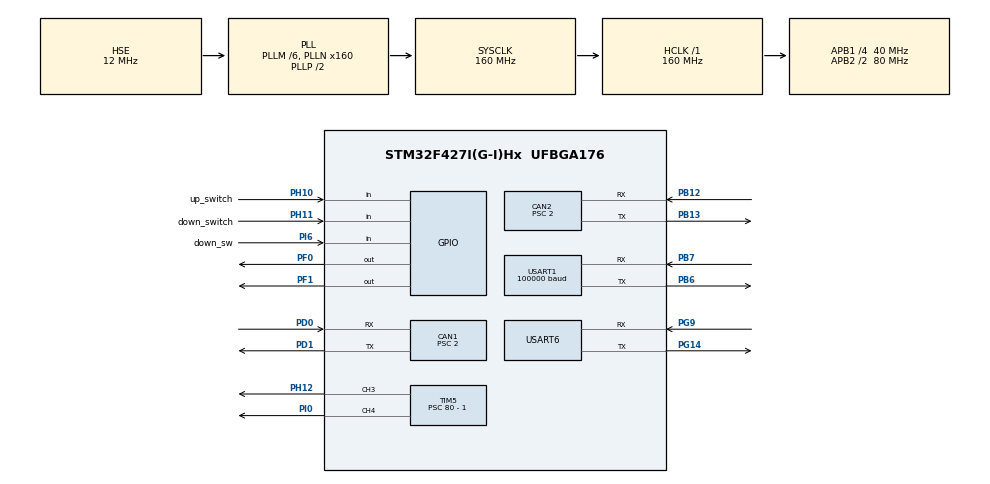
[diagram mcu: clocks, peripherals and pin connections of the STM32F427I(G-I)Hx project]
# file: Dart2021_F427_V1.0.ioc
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CAN1.BS1=CAN_BS1_13TQ
CAN1.BS2=CAN_BS2_6TQ
CAN1.CalculateBaudRate=1000000
CAN1.CalculateTimeBit=1000.00
CAN1.CalculateTimeQuantum=50.0
CAN1.Prescaler=2
CAN1.SJW=CAN_SJW_4TQ
CAN2.BS1=CAN_BS1_13TQ
CAN2.BS2=CAN_BS2_6TQ
CAN2.CalculateBaudRate=1000000
CAN2.CalculateTimeBit=1000.00
CAN2.CalculateTimeQuantum=50.0
CAN2.Prescaler=2
CAN2.SJW=CAN_SJW_4TQ
Dma.Request0=USART1_RX
Dma.Request1=USART6_RX
Dma.Request2=USART6_TX
Dma.USART1_RX.0.Direction=DMA_PERIPH_TO_MEMORY
Dma.USART1_RX.0.FIFOMode=DMA_FIFOMODE_DISABLE
Dma.USART1_RX.0.Instance=DMA2_Stream2
Dma.USART1_RX.0.MemDataAlignment=DMA_MDATAALIGN_BYTE
Dma.USART1_RX.0.MemInc=DMA_MINC_ENABLE
Dma.USART1_RX.0.Mode=DMA_NORMAL
Dma.USART1_RX.0.PeriphDataAlignment=DMA_PDATAALIGN_BYTE
Dma.USART1_RX.0.PeriphInc=DMA_PINC_DISABLE
Dma.USART1_RX.0.Priority=DMA_PRIORITY_LOW
Dma.USART6_RX.1.Direction=DMA_PERIPH_TO_MEMORY
Dma.USART6_RX.1.FIFOMode=DMA_FIFOMODE_DISABLE
Dma.USART6_RX.1.Instance=DMA2_Stream1
Dma.USART6_RX.1.MemDataAlignment=DMA_MDATAALIGN_BYTE
Dma.USART6_RX.1.MemInc=DMA_MINC_ENABLE
Dma.USART6_RX.1.Mode=DMA_NORMAL
Dma.USART6_RX.1.PeriphDataAlignment=DMA_PDATAALIGN_BYTE
Dma.USART6_RX.1.PeriphInc=DMA_PINC_DISABLE
Dma.USART6_RX.1.Priority=DMA_PRIORITY_HIGH
Dma.USART6_TX.2.Direction=DMA_MEMORY_TO_PERIPH
Dma.USART6_TX.2.FIFOMode=DMA_FIFOMODE_DISABLE
Dma.USART6_TX.2.Instance=DMA2_Stream6
Dma.USART6_TX.2.MemDataAlignment=DMA_MDATAALIGN_BYTE
Dma.USART6_TX.2.MemInc=DMA_MINC_ENABLE
Dma.USART6_TX.2.Mode=DMA_NORMAL
Dma.USART6_TX.2.PeriphDataAlignment=DMA_PDATAALIGN_BYTE
Dma.USART6_TX.2.PeriphInc=DMA_PINC_DISABLE
Dma.USART6_TX.2.Priority=DMA_PRIORITY_HIGH
FREERTOS.Tasks01=ShootTask,24,128,StartShootTask,Default,NULL,Dynamic,NULL,NULL;PositionTask,24,128,StartPositionTask,Default,NULL,Dynamic,NULL,NULL;UserCmdTask,24,128,StartUserCmdTask,Default,NULL,Dynamic,NULL,NULL;RefereeTask,24,128,StartRefereeTask,Default,NULL,Dynamic,NULL,NULL
FREERTOS.Timers01=Supervise_Timer,SuperviseTimer,osTimerPeriodic,Default,NULL,Dynamic,NULL
Mcu.Family=STM32F4
Mcu.Name=STM32F427I(G-I)Hx
Mcu.Package=UFBGA176
NVIC.CAN1_RX0_IRQn=true\:5\:0\:false\:false\:true\:true\:true\:true
NVIC.CAN2_RX0_IRQn=true\:5\:0\:false\:false\:true\:true\:true\:true
NVIC.DMA2_Stream1_IRQn=true\:5\:0\:false\:false\:true\:true\:false\:true
NVIC.DMA2_Stream2_IRQn=true\:5\:0\:false\:false\:true\:true\:false\:true
NVIC.DMA2_Stream6_IRQn=true\:5\:0\:false\:false\:true\:true\:false\:true
NVIC.PriorityGroup=NVIC_PRIORITYGROUP_4
NVIC.TIM8_TRG_COM_TIM14_IRQn=true\:0\:0\:false\:false\:true\:false\:false\:true
NVIC.TimeBase=TIM8_TRG_COM_TIM14_IRQn
NVIC.TimeBaseIP=TIM14
NVIC.USART1_IRQn=true\:5\:0\:false\:false\:true\:true\:true\:true
NVIC.USART6_IRQn=true\:5\:0\:false\:false\:true\:true\:true\:true
PA13.Mode=Serial_Wire
PA13.Signal=SYS_JTMS-SWDIO
PA14.Mode=Serial_Wire
PA14.Signal=SYS_JTCK-SWCLK
PB12.Mode=CAN_Activate
PB12.Signal=CAN2_RX
PB13.Mode=CAN_Activate
PB13.Signal=CAN2_TX
PB6.Mode=Asynchronous
PB6.Signal=USART1_TX
PB7.Mode=Asynchronous
PB7.Signal=USART1_RX
PD0.Mode=CAN_Activate
PD0.Signal=CAN1_RX
PD1.Mode=CAN_Activate
PD1.Signal=CAN1_TX
PF0.GPIO_Speed=GPIO_SPEED_FREQ_HIGH
PF0.Signal=GPIO_Output
PF1.GPIO_Speed=GPIO_SPEED_FREQ_HIGH
PF1.Signal=GPIO_Output
PG14.Mode=Asynchronous
PG14.Signal=USART6_TX
PG9.Mode=Asynchronous
PG9.Signal=USART6_RX
PH0/OSC_IN.Mode=HSE-External-Oscillator
PH0/OSC_IN.Signal=RCC_OSC_IN
PH1/OSC_OUT.Mode=HSE-External-Oscillator
PH1/OSC_OUT.Signal=RCC_OSC_OUT
PH10.GPIO_Label=up_switch
PH10.GPIO_PuPd=GPIO_PULLDOWN
PH10.Signal=GPIO_Input
PH11.GPIO_Label=down_switch
PH11.GPIO_PuPd=GPIO_PULLDOWN
PH11.Signal=GPIO_Input
PH12.Signal=S_TIM5_CH3
PI0.Signal=S_TIM5_CH4
PI6.GPIO_Label=down_sw
PI6.GPIO_PuPd=GPIO_PULLDOWN
PI6.Signal=GPIO_Input
ProjectManager.HeapSize=0x200
ProjectManager.StackSize=0x400
ProjectManager.TargetToolchain=MDK-ARM V5.27
RCC.48MHZClocksFreq_Value=80000000
RCC.AHBFreq_Value=160000000
RCC.APB1CLKDivider=RCC_HCLK_DIV4
RCC.APB1Freq_Value=40000000
RCC.APB1TimFreq_Value=80000000
RCC.APB2CLKDivider=RCC_HCLK_DIV2
RCC.APB2Freq_Value=80000000
RCC.APB2TimFreq_Value=160000000
RCC.CortexFreq_Value=160000000
RCC.HCLKFreq_Value=160000000
RCC.HSE_VALUE=12000000
RCC.HSI_VALUE=16000000
RCC.LSE_VALUE=32768
RCC.PLLM=6
RCC.PLLN=160
RCC.PLLSourceVirtual=RCC_PLLSOURCE_HSE
RCC.SYSCLKFreq_VALUE=160000000
RCC.SYSCLKSource=RCC_SYSCLKSOURCE_PLLCLK
RCC.VCOOutputFreq_Value=320000000
SH.S_TIM5_CH3.0=TIM5_CH3,PWM Generation3 CH3
SH.S_TIM5_CH4.0=TIM5_CH4,PWM Generation4 CH4
TIM5.Channel-PWM\ Generation3\ CH3=TIM_CHANNEL_3
TIM5.Channel-PWM\ Generation4\ CH4=TIM_CHANNEL_4
TIM5.Period=20000-1
TIM5.Prescaler=80 - 1
TIM5.Pulse-PWM\ Generation4\ CH4=500
USART1.BaudRate=100000
USART1.Mode=MODE_RX
USART1.Parity=PARITY_EVEN
USART1.StopBits=STOPBITS_2
USART1.VirtualMode=VM_ASYNC
USART1.WordLength=WORDLENGTH_9B
USART6.VirtualMode=VM_ASYNC
VP_FREERTOS_VS_CMSIS_V2.Mode=CMSIS_V2
VP_SYS_VS_tim14.Mode=TIM14
VP_TIM5_VS_ClockSourceINT.Mode=Internal
board=custom

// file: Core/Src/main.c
/* USER CODE BEGIN Header */
/**
  ******************************************************************************
  * @file           : main.c
  * @brief          : Main program body
  ******************************************************************************
  * @attention
  *
  * <h2><center>&copy; Copyright (c) 2021 STMicroelectronics.
  * All rights reserved.</center></h2>
  *
  * This software component is licensed by ST under Ultimate Liberty license
  * SLA0044, the "License"; You may not use this file except in compliance with
  * the License. You may obtain a copy of the License at:
  *                             www.st.com/SLA0044
  *
  ******************************************************************************
  */
/* USER CODE END Header */
#include "main.h"
#include "cmsis_os.h"
#include "can.h"
#include "dma.h"
#include "tim.h"
#include "usart.h"
#include "gpio.h"

/* USER CODE BEGIN Includes */
#include "remote.h"
#include "bsp_can.h"
#include "robot.h"
/* USER CODE END Includes */

/* USER CODE BEGIN PM */
extern struct dart_t dart;
/* USER CODE END PM */

void SystemClock_Config(void);
void MX_FREERTOS_Init(void);

int main(void)
{

  /* MCU Configuration--------------------------------------------------------*/

  /* Reset of all peripherals, Initializes the Flash interface and the Systick. */
  HAL_Init();

  /* Configure the system clock */
  SystemClock_Config();

  /* Initialize all configured peripherals */
  MX_GPIO_Init();
  MX_DMA_Init();
  MX_CAN1_Init();
  MX_CAN2_Init();
  MX_USART1_UART_Init();
  MX_TIM5_Init();
  MX_USART6_UART_Init();
  /* USER CODE BEGIN 2 */
  Remote_init();
  CanFilterInit(&hcan1);
  CanFilterInit(&hcan2);
  /* USER CODE END 2 */

  /* Init scheduler */
  osKernelInitialize();  /* Call init function for freertos objects (in freertos.c) */
  MX_FREERTOS_Init();
  /* Start scheduler */
  osKernelStart();

  /* We should never get here as control is now taken by the scheduler */
  /* Infinite loop */
  while (1)
  {

  }
}

void SystemClock_Config(void)
{
  RCC_OscInitTypeDef RCC_OscInitStruct = {0};
  RCC_ClkInitTypeDef RCC_ClkInitStruct = {0};

  /** Configure the main internal regulator output voltage
  */
  __HAL_RCC_PWR_CLK_ENABLE();
  __HAL_PWR_VOLTAGESCALING_CONFIG(PWR_REGULATOR_VOLTAGE_SCALE1);
  /** Initializes the RCC Oscillators according to the specified parameters
  * in the RCC_OscInitTypeDef structure.
  */
  RCC_OscInitStruct.OscillatorType = RCC_OSCILLATORTYPE_HSE;
  RCC_OscInitStruct.HSEState = RCC_HSE_ON;
  RCC_OscInitStruct.PLL.PLLState = RCC_PLL_ON;
  RCC_OscInitStruct.PLL.PLLSource = RCC_PLLSOURCE_HSE;
  RCC_OscInitStruct.PLL.PLLM = 6;
  RCC_OscInitStruct.PLL.PLLN = 160;
  RCC_OscInitStruct.PLL.PLLP = RCC_PLLP_DIV2;
  RCC_OscInitStruct.PLL.PLLQ = 4;
  if (HAL_RCC_OscConfig(&RCC_OscInitStruct) != HAL_OK)
  {
    Error_Handler();
  }
  /** Initializes the CPU, AHB and APB buses clocks
  */
  RCC_ClkInitStruct.ClockType = RCC_CLOCKTYPE_HCLK|RCC_CLOCKTYPE_SYSCLK
                              |RCC_CLOCKTYPE_PCLK1|RCC_CLOCKTYPE_PCLK2;
  RCC_ClkInitStruct.SYSCLKSource = RCC_SYSCLKSOURCE_PLLCLK;
  RCC_ClkInitStruct.AHBCLKDivider = RCC_SYSCLK_DIV1;
  RCC_ClkInitStruct.APB1CLKDivider = RCC_HCLK_DIV4;
  RCC_ClkInitStruct.APB2CLKDivider = RCC_HCLK_DIV2;

  if (HAL_RCC_ClockConfig(&RCC_ClkInitStruct, FLASH_LATENCY_5) != HAL_OK)
  {
    Error_Handler();
  }
}

 /**
  * @brief  Period elapsed callback in non blocking mode
  * @note   This function is called  when TIM14 interrupt took place, inside
  * HAL_TIM_IRQHandler(). It makes a direct call to HAL_IncTick() to increment
  * a global variable "uwTick" used as application time base.
  * @param  htim : TIM handle
  * @retval None
  */
void HAL_TIM_PeriodElapsedCallback(TIM_HandleTypeDef *htim)
{
  if (htim->Instance == TIM14) {
    HAL_IncTick();
  }
}

void Error_Handler(void)
{
  __disable_irq();
  while (1)
  {
  }
}

/************************ (C) COPYRIGHT STMicroelectronics *****END OF FILE****/

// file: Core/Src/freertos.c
/* USER CODE BEGIN Header */
/**
  ******************************************************************************
  * File Name          : freertos.c
  * Description        : Code for freertos applications
  ******************************************************************************
  * @attention
  *
  * <h2><center>&copy; Copyright (c) 2021 STMicroelectronics.
  * All rights reserved.</center></h2>
  *
  * This software component is licensed by ST under Ultimate Liberty license
  * SLA0044, the "License"; You may not use this file except in compliance with
  * the License. You may obtain a copy of the License at:
  *                             www.st.com/SLA0044
  *
  ******************************************************************************
  */
/* USER CODE END Header */

#include "FreeRTOS.h"
#include "task.h"
#include "main.h"
#include "cmsis_os.h"

/* USER CODE BEGIN Includes */
#include "supervise.h"
#include "fifo.h"
#include "referee.h"
#include "robot.h"
#include "position.h"
#include "shoot.h"
/* USER CODE END Includes */

/* USER CODE BEGIN PM */
int flag = 0;
/* USER CODE END PM */

/* USER CODE BEGIN Variables */
extern fifo_s_t referee_fifo;
extern uint8_t referee_fifo_buf[REFEREE_FIFO_BUF_LENGTH];
/* USER CODE END Variables */
/* Definitions for ShootTask */
osThreadId_t ShootTaskHandle;
const osThreadAttr_t ShootTask_attributes = {
  .name = "ShootTask",
  .stack_size = 128 * 4,
  .priority = (osPriority_t) osPriorityNormal,
};
/* Definitions for PositionTask */
osThreadId_t PositionTaskHandle;
const osThreadAttr_t PositionTask_attributes = {
  .name = "PositionTask",
  .stack_size = 128 * 4,
  .priority = (osPriority_t) osPriorityNormal,
};
/* Definitions for UserCmdTask */
osThreadId_t UserCmdTaskHandle;
const osThreadAttr_t UserCmdTask_attributes = {
  .name = "UserCmdTask",
  .stack_size = 128 * 4,
  .priority = (osPriority_t) osPriorityNormal,
};
/* Definitions for RefereeTask */
osThreadId_t RefereeTaskHandle;
const osThreadAttr_t RefereeTask_attributes = {
  .name = "RefereeTask",
  .stack_size = 128 * 4,
  .priority = (osPriority_t) osPriorityNormal,
};
/* Definitions for Supervise_Timer */
osTimerId_t Supervise_TimerHandle;
const osTimerAttr_t Supervise_Timer_attributes = {
  .name = "Supervise_Timer"
};

void StartShootTask(void *argument);
void StartPositionTask(void *argument);
void StartUserCmdTask(void *argument);
void StartRefereeTask(void *argument);
void SuperviseTimer(void *argument);

void MX_FREERTOS_Init(void); /* (MISRA C 2004 rule 8.1) */

void MX_FREERTOS_Init(void) {

  /* Create the timer(s) */
  /* creation of Supervise_Timer */
  Supervise_TimerHandle = osTimerNew(SuperviseTimer, osTimerPeriodic, NULL, &Supervise_Timer_attributes);

  /* USER CODE BEGIN RTOS_TIMERS */
  /* start timers, add new ones, ... */
    osTimerStart(Supervise_TimerHandle, 2);
  /* USER CODE END RTOS_TIMERS */

  /* Create the thread(s) */
  /* creation of ShootTask */
  ShootTaskHandle = osThreadNew(StartShootTask, NULL, &ShootTask_attributes);

  /* creation of PositionTask */
  PositionTaskHandle = osThreadNew(StartPositionTask, NULL, &PositionTask_attributes);

  /* creation of UserCmdTask */
  UserCmdTaskHandle = osThreadNew(StartUserCmdTask, NULL, &UserCmdTask_attributes);

  /* creation of RefereeTask */
  RefereeTaskHandle = osThreadNew(StartRefereeTask, NULL, &RefereeTask_attributes);

}

void StartShootTask(void *argument)
{
  /* USER CODE BEGIN StartShootTask */
  /* Infinite loop */
  for(;;)
  {
    ShootParamChange();
    osDelay(2);
  }
  /* USER CODE END StartShootTask */
}

void StartPositionTask(void *argument)
{
  /* USER CODE BEGIN StartPositionTask */
  /* Infinite loop */
  for(;;)
  {
    PositionParamChange();
    Remain35083510FrictiongearSpeed();
    osDelay(2);
  }
  /* USER CODE END StartPositionTask */
}

/* USER CODE BEGIN Header_StartUserCmdTask */
GPIO_PinState a = 0;
/**
* @brief Function implementing the UserCmdTask thread.
* @param argument: Not used
* @retval None
*/
/* USER CODE END Header_StartUserCmdTask */
void StartUserCmdTask(void *argument)
{
  /* USER CODE BEGIN StartUserCmdTask */
  DartParamInit();
  /* Infinite loop */
  for(;;)
  {
		//a = HAL_GPIO_ReadPin(GPIOH,GPIO_PIN_11);
    DartStateChange();
    osDelay(1);
  }
  /* USER CODE END StartUserCmdTask */
}

void StartRefereeTask(void *argument)
{
  /* USER CODE BEGIN StartRefereeTask */
	fifo_s_init(&referee_fifo, referee_fifo_buf, REFEREE_FIFO_BUF_LENGTH);
	USART6_Init();
	Referee_Data_Init();
	//InitUI();
  /* Infinite loop */
  for(;;){
	  Referee_Unpack_FIFO_Data();
    osDelay(100);
  }
  /* USER CODE END StartRefereeTask */
}

/* SuperviseTimer function */
void SuperviseTimer(void *argument)
{
  /* USER CODE BEGIN SuperviseTimer */
    //SuperviseTaskHandle();
  /* USER CODE END SuperviseTimer */
}

/************************ (C) COPYRIGHT STMicroelectronics *****END OF FILE****/
